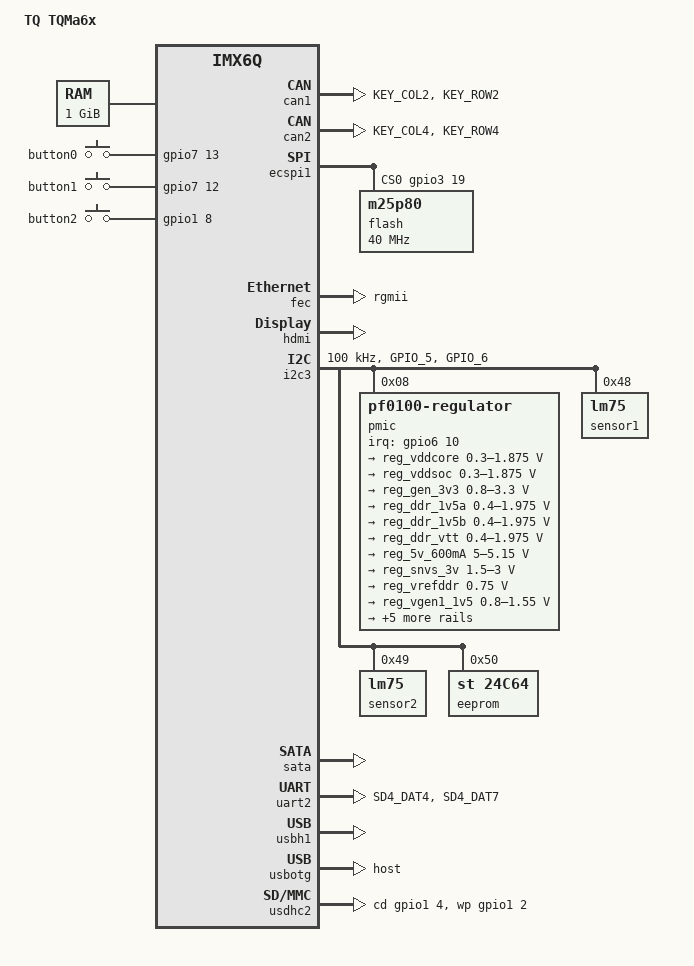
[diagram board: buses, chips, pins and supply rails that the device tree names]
/*
 * Copyright 2013 Sascha Hauer, Pengutronix
 *
 * The code contained herein is licensed under the GNU General Public
 * License. You may obtain a copy of the GNU General Public License
 * Version 2 or later at the following locations:
 *
 * http://www.opensource.org/licenses/gpl-license.html
 * http://www.gnu.org/copyleft/gpl.html
 */
/dts-v1/;

#include "imx6q.dtsi"

/ {
	model = "TQ TQMa6x";
	compatible = "tq,tqma6x", "fsl,imx6q";

	chosen {
		linux,stdout-path = "/soc/aips-bus@02100000/serial@021e8000";
	};

	memory {
		reg = <0x10000000 0x40000000>;
	};

	gpio_buttons: gpio_buttons@0 {
		compatible = "gpio-keys";
		#address-cells = <1>;
		#size-cells = <0>;
		pinctrl-names = "default";
		pinctrl-0 = <&pinctrl_gpiobuttons_1>;

		button@1 {
			label = "button0";
			linux,code = <0x100>;
			gpios = <&gpio7 13 0>;
		};

		button@2 {
			label = "button1";
			linux,code = <0x101>;
			gpios = <&gpio7 12 0>;
		};

		button@3 {
			label = "button2";
			linux,code = <0x102>;
			gpios = <&gpio1 8 0>;
		};
	};
};

&can1 {
	pinctrl-names = "default";
	pinctrl-0 = <&pinctrl_can1_1>;
	status = "okay";
};

&can2 {
	pinctrl-names = "default";
	pinctrl-0 = <&pinctrl_can2_1>;
	status = "okay";
};

&ecspi1 {
	pinctrl-names = "default";
	pinctrl-0 = <&pinctrl_ecspi1_1>;
	fsl,spi-num-chipselects = <1>;
	cs-gpios = <&gpio3 19 0>;
	status = "okay";

	flash: m25p80@0 {
		compatible = "m25p80";
		spi-max-frequency = <40000000>;
		reg = <0>;
	};
};

&fec {
	pinctrl-names = "default";
	pinctrl-0 = <&pinctrl_enet_1>;
	phy-mode = "rgmii";
	status = "okay";
};

&hdmi {
	status = "okay";
	ddc = <&i2c2>;
};

&i2c3 {
	status = "okay";
	clock-frequency = <100000>;
	pinctrl-names = "default";
	pinctrl-0 = <&pinctrl_i2c3_2>;

	pmic: pf0100@08 {
		compatible = "pf0100-regulator";
		reg = <0x08>;
		interrupt-parent = <&gpio6>;
		interrupts = <10 8>;

		regulators {
			reg_vddcore: sw1ab {
				regulator-min-microvolt = <300000>;
				regulator-max-microvolt = <1875000>;
				regulator-always-on;
			};

			reg_vddsoc: sw1c {
				regulator-min-microvolt = <300000>;
				regulator-max-microvolt = <1875000>;
				regulator-always-on;
			};

			reg_gen_3v3: sw2 {
				regulator-min-microvolt = <800000>;
				regulator-max-microvolt = <3300000>;
				regulator-always-on;
			};

			reg_ddr_1v5a: sw3a {
				regulator-min-microvolt = <400000>;
				regulator-max-microvolt = <1975000>;
				regulator-always-on;
			};

			reg_ddr_1v5b: sw3b {
				regulator-min-microvolt = <400000>;
				regulator-max-microvolt = <1975000>;
				regulator-always-on;
			};

			reg_ddr_vtt: sw4 {
				regulator-min-microvolt = <400000>;
				regulator-max-microvolt = <1975000>;
				regulator-always-on;
			};

			reg_5v_600mA: swbst {
				regulator-min-microvolt = <5000000>;
				regulator-max-microvolt = <5150000>;
				regulator-always-on;
			};

			reg_snvs_3v: vsnvs {
				regulator-min-microvolt = <1500000>;
				regulator-max-microvolt = <3000000>;
				regulator-always-on;
			};

			reg_vrefddr: vrefddr {
				regulator-min-microvolt = <750000>;
				regulator-max-microvolt = <750000>;
				regulator-always-on;
			};

			reg_vgen1_1v5: vgen1 {
				regulator-min-microvolt = <800000>;
				regulator-max-microvolt = <1550000>;
				/* not used */
			};

			reg_vgen2_1v2_eth: vgen2 {
				regulator-min-microvolt = <800000>;
				regulator-max-microvolt = <1550000>;
				regulator-always-on;
			};

			reg_vgen3_2v8: vgen3 {
				regulator-min-microvolt = <1800000>;
				regulator-max-microvolt = <3300000>;
				regulator-always-on;
			};

			reg_vgen4_1v8: vgen4 {
				regulator-min-microvolt = <1800000>;
				regulator-max-microvolt = <3300000>;
				regulator-always-on;
			};

			reg_vgen5_1v8_eth: vgen5 {
				regulator-min-microvolt = <1800000>;
				regulator-max-microvolt = <3300000>;
				regulator-always-on;
			};

			reg_vgen6_3v3: vgen6 {
				regulator-min-microvolt = <1800000>;
				regulator-max-microvolt = <3300000>;
				regulator-always-on;
			};
		};
	};

	sensor1: lm75@48 {
		compatible = "lm75";
		reg = <0x48>;
	};

	sensor2: lm75@49 {
		compatible = "lm75";
		reg = <0x49>;
	};

	eeprom: m24c64@50 { /* FIXME: Baseboard */
		compatible = "st,24c64", "at24";
		reg = <0x50>;
	};

};

&iomuxc {
	pinctrl-names = "default";
	pinctrl-0 = <&pinctrl_hog>;

	can1 {
		pinctrl_can1_1: can1grp-1 {
			fsl,pins = <
				MX6QDL_PAD_KEY_COL2__FLEXCAN1_TX 0x80000000
				MX6QDL_PAD_KEY_ROW2__FLEXCAN1_RX 0x80000000
			>;
		};
	};

	can2 {
		pinctrl_can2_1: can2grp-1 {
			fsl,pins = <
				MX6QDL_PAD_KEY_COL4__FLEXCAN2_TX 0x80000000
				MX6QDL_PAD_KEY_ROW4__FLEXCAN2_RX 0x80000000
			>;
		};
	};

	hog {
		pinctrl_hog: hoggrp-1 {
			fsl,pins = <
				MX6QDL_PAD_ENET_CRS_DV__GPIO1_IO25 0x80000000 /* FEC phy reset */
				MX6QDL_PAD_GPIO_4__GPIO1_IO04  0x80000000 /* usdhc2 CD */
				MX6QDL_PAD_GPIO_2__GPIO1_IO02 0x80000000 /* usdhc2 WP */
				MX6QDL_PAD_EIM_D19__GPIO3_IO19 0x80000000 /* eCSPI1 SS1 */
				MX6QDL_PAD_NANDF_RB0__GPIO6_IO10 0x80000000 /* PMIC irq */
				MX6QDL_PAD_EIM_D22__GPIO3_IO22 0x80000000
			>;
		};
	};

	i2c3 {
		pinctrl_i2c3_2: i2c3grp-2 {
			fsl,pins = <
				MX6QDL_PAD_GPIO_5__I2C3_SCL 0x4001b8b1
				MX6QDL_PAD_GPIO_6__I2C3_SDA 0x4001b8b1
			>;
		};
	};

	uart2 {
		pinctrl_uart2_2: uart2grp-2 {
			fsl,pins = <
				MX6QDL_PAD_SD4_DAT4__UART2_RX_DATA 0x1b0b1
				MX6QDL_PAD_SD4_DAT7__UART2_TX_DATA 0x1b0b1
			>;
		};
	};

	gpiobuttons {
		pinctrl_gpiobuttons_1: gpiogrp-1 {
			fsl,pins = <
				MX6QDL_PAD_GPIO_17__GPIO7_IO12 0x80000000
				MX6QDL_PAD_GPIO_18__GPIO7_IO13 0x80000000
				MX6QDL_PAD_GPIO_8__GPIO1_IO08 0x80000000
			>;
		};
	};
};

&sata {
	status = "okay";
};

&uart2 {
	status = "okay";
	pinctrl-names = "default";
	pinctrl-0 = <&pinctrl_uart2_2>;
};

&usbh1 {
	status = "okay";
	barebox,phy_type = "utmi";
	disable-over-current;
};

&usbotg {
	pinctrl-names = "default";
	pinctrl-0 = <&pinctrl_usbotg_1>;
	barebox,phy_type = "utmi";
	barebox,dr_mode = "peripheral";
	dr_mode = "host";
	disable-over-current;
	otg_id_pin_select_change;
	status = "okay";
};

&usdhc2 { /* Baseboard Slot */
	pinctrl-names = "default";
	pinctrl-0 = <&pinctrl_usdhc2_1>;
	cd-gpios = <&gpio1 4 0>;
	wp-gpios = <&gpio1 2 0>;
	max-frequency = <1000000>;
	status = "okay";
};

&usdhc3 { /* eMMC */
	pinctrl-names = "default";
	pinctrl-0 = <&pinctrl_usdhc3_1>;
	non-removable;
	bus-width = <8>;
	status = "disabled";
};
